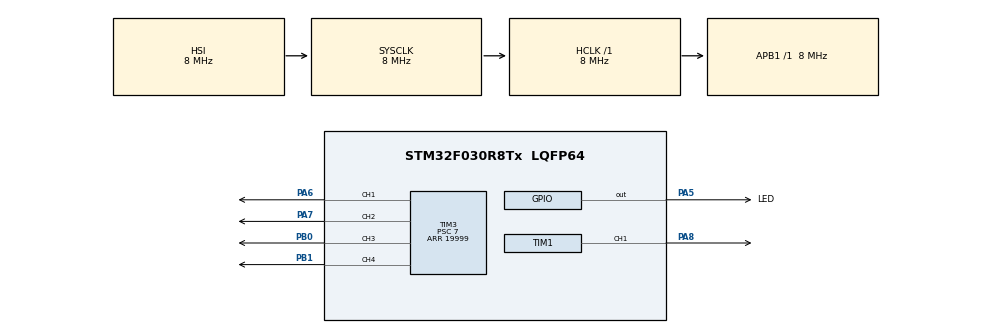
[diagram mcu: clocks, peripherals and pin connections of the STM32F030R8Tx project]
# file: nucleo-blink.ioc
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Mcu.Family=STM32F0
Mcu.Name=STM32F030R8Tx
Mcu.Package=LQFP64
PA13.Mode=Serial_Wire
PA13.Signal=SYS_SWDIO
PA14.Mode=Serial_Wire
PA14.Signal=SYS_SWCLK
PA5.GPIO_Label=LED
PA5.Signal=GPIO_Output
PA6.Signal=S_TIM3_CH1
PA7.Signal=S_TIM3_CH2
PA8.Signal=S_TIM1_CH1
PB0.Signal=S_TIM3_CH3
PB1.Signal=S_TIM3_CH4
PF0-OSC_IN.Mode=HSE-External-Oscillator
PF0-OSC_IN.Signal=RCC_OSC_IN
PF1-OSC_OUT.Mode=HSE-External-Oscillator
PF1-OSC_OUT.Signal=RCC_OSC_OUT
ProjectManager.HeapSize=0x200
ProjectManager.StackSize=0x400
ProjectManager.TargetToolchain=STM32CubeIDE
RCC.AHBFreq_Value=8000000
RCC.APB1Freq_Value=8000000
RCC.APB1TimFreq_Value=8000000
RCC.HCLKFreq_Value=8000000
RCC.PLLMUL=RCC_PLL_MUL12
RCC.SYSCLKFreq_VALUE=8000000
SH.S_TIM1_CH1.0=TIM1_CH1,PWM Generation1 CH1
SH.S_TIM3_CH1.0=TIM3_CH1,PWM Generation1 CH1
SH.S_TIM3_CH2.0=TIM3_CH2,PWM Generation2 CH2
SH.S_TIM3_CH3.0=TIM3_CH3,PWM Generation3 CH3
SH.S_TIM3_CH4.0=TIM3_CH4,PWM Generation4 CH4
TIM1.Channel-PWM\ Generation1\ CH1=TIM_CHANNEL_1
TIM3.Channel-PWM\ Generation1\ CH1=TIM_CHANNEL_1
TIM3.Channel-PWM\ Generation2\ CH2=TIM_CHANNEL_2
TIM3.Channel-PWM\ Generation3\ CH3=TIM_CHANNEL_3
TIM3.Channel-PWM\ Generation4\ CH4=TIM_CHANNEL_4
TIM3.Period=19999
TIM3.Prescaler=7
TIM3.Pulse-PWM\ Generation1\ CH1=1500
VP_TIM1_VS_ClockSourceINT.Mode=Internal
VP_TIM3_VS_ClockSourceINT.Mode=Internal
board=custom

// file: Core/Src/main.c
/* USER CODE BEGIN Header */
/**
  ******************************************************************************
  * @file           : main.c
  * @brief          : Main program body
  ******************************************************************************
  * @attention
  *
  * Copyright (c) 2026 STMicroelectronics.
  * All rights reserved.
  *
  * This software is licensed under terms that can be found in the LICENSE file
  * in the root directory of this software component.
  * If no LICENSE file comes with this software, it is provided AS-IS.
  *
  ******************************************************************************
  */
/* USER CODE END Header */
#include "main.h"

/* USER CODE BEGIN PD */
#define SERVO_MIN_US        1000   // lebar pulse untuk 0 derajat (us)
#define SERVO_MAX_US        2000   // lebar pulse untuk 180 derajat (us)
#define SERVO_STEP_DELAY_MS 5     // jeda tiap 1 derajat (kecepatan gerak)
/* USER CODE END PD */

TIM_HandleTypeDef htim1;
TIM_HandleTypeDef htim3;

void SystemClock_Config(void);
static void MX_GPIO_Init(void);
static void MX_TIM3_Init(void);
static void MX_TIM1_Init(void);

/* USER CODE BEGIN 0 */

// Konversi derajat (0 - 180) menjadi nilai CCR TIM3
// Tick timer = 1 us, jadi nilai CCR = lebar pulse dalam us
static uint16_t Servo_DegToCCR(uint8_t derajat)
{
  if (derajat > 180)
  {
    derajat = 180;
  }

  return (uint16_t)(SERVO_MIN_US +
                    ((uint32_t)derajat * (SERVO_MAX_US - SERVO_MIN_US)) / 180);
}

// Set sudut servo: ch = 1 sampai 4, derajat = 0 sampai 180
static void Servo_Write(uint8_t ch, uint8_t derajat)
{
  uint32_t channel;

  switch (ch)
  {
    case 1: channel = TIM_CHANNEL_1; break;
    case 2: channel = TIM_CHANNEL_2; break;
    case 3: channel = TIM_CHANNEL_3; break;
    case 4: channel = TIM_CHANNEL_4; break;
    default: return;   // channel tidak valid, abaikan
  }

  __HAL_TIM_SET_COMPARE(&htim3, channel, Servo_DegToCCR(derajat));
}

/* USER CODE END 0 */

int main(void)
{

  /* MCU Configuration--------------------------------------------------------*/

  /* Reset of all peripherals, Initializes the Flash interface and the Systick. */
  HAL_Init();

  /* Configure the system clock */
  SystemClock_Config();

  /* Initialize all configured peripherals */
  MX_GPIO_Init();
  MX_TIM3_Init();
  MX_TIM1_Init();
  /* USER CODE BEGIN 2 */

  // Posisi awal sebelum PWM dinyalakan
  Servo_Write(1, 0);
  Servo_Write(2, 0);
  Servo_Write(3, 0);
  Servo_Write(4, 0);

  // Start PWM servo (TIM3 CH1 - CH4)
  HAL_TIM_PWM_Start(&htim3, TIM_CHANNEL_1);
  HAL_TIM_PWM_Start(&htim3, TIM_CHANNEL_2);
  HAL_TIM_PWM_Start(&htim3, TIM_CHANNEL_3);
  HAL_TIM_PWM_Start(&htim3, TIM_CHANNEL_4);

  // Beri waktu servo menuju posisi awal
  HAL_Delay(500);

  /* USER CODE END 2 */

  /* Infinite loop */
  /* USER CODE BEGIN WHILE */
  while (1)
  {
	    Servo_Write(1, 0);
//    // Gerak 0 -> 90 derajat (servo CH1)
    for (int sudut = 0; sudut <= 100; sudut++)
    {
      Servo_Write(3, (uint8_t)sudut);
      Servo_Write(2, (uint8_t)sudut);
      HAL_Delay(SERVO_STEP_DELAY_MS);
    }
// Servo_Write(2, 180);
//	   Servo_Write(3, 0);

    HAL_Delay(2000);

    Servo_Write(1, 90);
    // Gerak 90 -> 0 derajat (servo CH1)
    for (int sudut = 100; sudut >= 0; sudut--)
    {
      Servo_Write(3, (uint8_t)sudut);
      Servo_Write(2, (uint8_t)sudut);
      HAL_Delay(SERVO_STEP_DELAY_MS);
    }

    HAL_Delay(2000);

    // Contoh pemakaian channel lain:
    // Servo_Write(2, 45);
    // Servo_Write(3, 90);
    // Servo_Write(4, 180);

    /* USER CODE END WHILE */

  }
}

void SystemClock_Config(void)
{
  RCC_OscInitTypeDef RCC_OscInitStruct = {0};
  RCC_ClkInitTypeDef RCC_ClkInitStruct = {0};

  /** Initializes the RCC Oscillators according to the specified parameters
  * in the RCC_OscInitTypeDef structure.
  */
  RCC_OscInitStruct.OscillatorType = RCC_OSCILLATORTYPE_HSI;
  RCC_OscInitStruct.HSIState = RCC_HSI_ON;
  RCC_OscInitStruct.HSICalibrationValue = RCC_HSICALIBRATION_DEFAULT;
  RCC_OscInitStruct.PLL.PLLState = RCC_PLL_NONE;
  if (HAL_RCC_OscConfig(&RCC_OscInitStruct) != HAL_OK)
  {
    Error_Handler();
  }

  /** Initializes the CPU, AHB and APB buses clocks
  */
  RCC_ClkInitStruct.ClockType = RCC_CLOCKTYPE_HCLK|RCC_CLOCKTYPE_SYSCLK
                              |RCC_CLOCKTYPE_PCLK1;
  RCC_ClkInitStruct.SYSCLKSource = RCC_SYSCLKSOURCE_HSI;
  RCC_ClkInitStruct.AHBCLKDivider = RCC_SYSCLK_DIV1;
  RCC_ClkInitStruct.APB1CLKDivider = RCC_HCLK_DIV1;

  if (HAL_RCC_ClockConfig(&RCC_ClkInitStruct, FLASH_LATENCY_0) != HAL_OK)
  {
    Error_Handler();
  }
}

static void MX_TIM1_Init(void)
{

  TIM_ClockConfigTypeDef sClockSourceConfig = {0};
  TIM_MasterConfigTypeDef sMasterConfig = {0};
  TIM_OC_InitTypeDef sConfigOC = {0};
  TIM_BreakDeadTimeConfigTypeDef sBreakDeadTimeConfig = {0};

  htim1.Instance = TIM1;
  htim1.Init.Prescaler = 0;
  htim1.Init.CounterMode = TIM_COUNTERMODE_UP;
  htim1.Init.Period = 65535;
  htim1.Init.ClockDivision = TIM_CLOCKDIVISION_DIV1;
  htim1.Init.RepetitionCounter = 0;
  htim1.Init.AutoReloadPreload = TIM_AUTORELOAD_PRELOAD_DISABLE;
  if (HAL_TIM_Base_Init(&htim1) != HAL_OK)
  {
    Error_Handler();
  }
  sClockSourceConfig.ClockSource = TIM_CLOCKSOURCE_INTERNAL;
  if (HAL_TIM_ConfigClockSource(&htim1, &sClockSourceConfig) != HAL_OK)
  {
    Error_Handler();
  }
  if (HAL_TIM_PWM_Init(&htim1) != HAL_OK)
  {
    Error_Handler();
  }
  sMasterConfig.MasterOutputTrigger = TIM_TRGO_RESET;
  sMasterConfig.MasterSlaveMode = TIM_MASTERSLAVEMODE_DISABLE;
  if (HAL_TIMEx_MasterConfigSynchronization(&htim1, &sMasterConfig) != HAL_OK)
  {
    Error_Handler();
  }
  sConfigOC.OCMode = TIM_OCMODE_PWM1;
  sConfigOC.Pulse = 0;
  sConfigOC.OCPolarity = TIM_OCPOLARITY_HIGH;
  sConfigOC.OCNPolarity = TIM_OCNPOLARITY_HIGH;
  sConfigOC.OCFastMode = TIM_OCFAST_DISABLE;
  sConfigOC.OCIdleState = TIM_OCIDLESTATE_RESET;
  sConfigOC.OCNIdleState = TIM_OCNIDLESTATE_RESET;
  if (HAL_TIM_PWM_ConfigChannel(&htim1, &sConfigOC, TIM_CHANNEL_1) != HAL_OK)
  {
    Error_Handler();
  }
  sBreakDeadTimeConfig.OffStateRunMode = TIM_OSSR_DISABLE;
  sBreakDeadTimeConfig.OffStateIDLEMode = TIM_OSSI_DISABLE;
  sBreakDeadTimeConfig.LockLevel = TIM_LOCKLEVEL_OFF;
  sBreakDeadTimeConfig.DeadTime = 0;
  sBreakDeadTimeConfig.BreakState = TIM_BREAK_DISABLE;
  sBreakDeadTimeConfig.BreakPolarity = TIM_BREAKPOLARITY_HIGH;
  sBreakDeadTimeConfig.AutomaticOutput = TIM_AUTOMATICOUTPUT_DISABLE;
  if (HAL_TIMEx_ConfigBreakDeadTime(&htim1, &sBreakDeadTimeConfig) != HAL_OK)
  {
    Error_Handler();
  }
  HAL_TIM_MspPostInit(&htim1);

}

static void MX_TIM3_Init(void)
{

  TIM_ClockConfigTypeDef sClockSourceConfig = {0};
  TIM_MasterConfigTypeDef sMasterConfig = {0};
  TIM_OC_InitTypeDef sConfigOC = {0};

  htim3.Instance = TIM3;
  htim3.Init.Prescaler = 7;
  htim3.Init.CounterMode = TIM_COUNTERMODE_UP;
  htim3.Init.Period = 19999;
  htim3.Init.ClockDivision = TIM_CLOCKDIVISION_DIV1;
  htim3.Init.AutoReloadPreload = TIM_AUTORELOAD_PRELOAD_DISABLE;
  if (HAL_TIM_Base_Init(&htim3) != HAL_OK)
  {
    Error_Handler();
  }
  sClockSourceConfig.ClockSource = TIM_CLOCKSOURCE_INTERNAL;
  if (HAL_TIM_ConfigClockSource(&htim3, &sClockSourceConfig) != HAL_OK)
  {
    Error_Handler();
  }
  if (HAL_TIM_PWM_Init(&htim3) != HAL_OK)
  {
    Error_Handler();
  }
  sMasterConfig.MasterOutputTrigger = TIM_TRGO_RESET;
  sMasterConfig.MasterSlaveMode = TIM_MASTERSLAVEMODE_DISABLE;
  if (HAL_TIMEx_MasterConfigSynchronization(&htim3, &sMasterConfig) != HAL_OK)
  {
    Error_Handler();
  }
  sConfigOC.OCMode = TIM_OCMODE_PWM1;
  sConfigOC.Pulse = 1500;
  sConfigOC.OCPolarity = TIM_OCPOLARITY_HIGH;
  sConfigOC.OCFastMode = TIM_OCFAST_DISABLE;
  if (HAL_TIM_PWM_ConfigChannel(&htim3, &sConfigOC, TIM_CHANNEL_1) != HAL_OK)
  {
    Error_Handler();
  }
  sConfigOC.Pulse = 0;
  if (HAL_TIM_PWM_ConfigChannel(&htim3, &sConfigOC, TIM_CHANNEL_2) != HAL_OK)
  {
    Error_Handler();
  }
  if (HAL_TIM_PWM_ConfigChannel(&htim3, &sConfigOC, TIM_CHANNEL_3) != HAL_OK)
  {
    Error_Handler();
  }
  if (HAL_TIM_PWM_ConfigChannel(&htim3, &sConfigOC, TIM_CHANNEL_4) != HAL_OK)
  {
    Error_Handler();
  }
  HAL_TIM_MspPostInit(&htim3);

}

static void MX_GPIO_Init(void)
{
  GPIO_InitTypeDef GPIO_InitStruct = {0};

  /* GPIO Ports Clock Enable */
  __HAL_RCC_GPIOF_CLK_ENABLE();
  __HAL_RCC_GPIOA_CLK_ENABLE();
  __HAL_RCC_GPIOB_CLK_ENABLE();

  /*Configure GPIO pin Output Level */
  HAL_GPIO_WritePin(LED_GPIO_Port, LED_Pin, GPIO_PIN_RESET);

  /*Configure GPIO pin : LED_Pin */
  GPIO_InitStruct.Pin = LED_Pin;
  GPIO_InitStruct.Mode = GPIO_MODE_OUTPUT_PP;
  GPIO_InitStruct.Pull = GPIO_NOPULL;
  GPIO_InitStruct.Speed = GPIO_SPEED_FREQ_LOW;
  HAL_GPIO_Init(LED_GPIO_Port, &GPIO_InitStruct);

}

void Error_Handler(void)
{
  __disable_irq();
  while (1)
  {
  }
}
